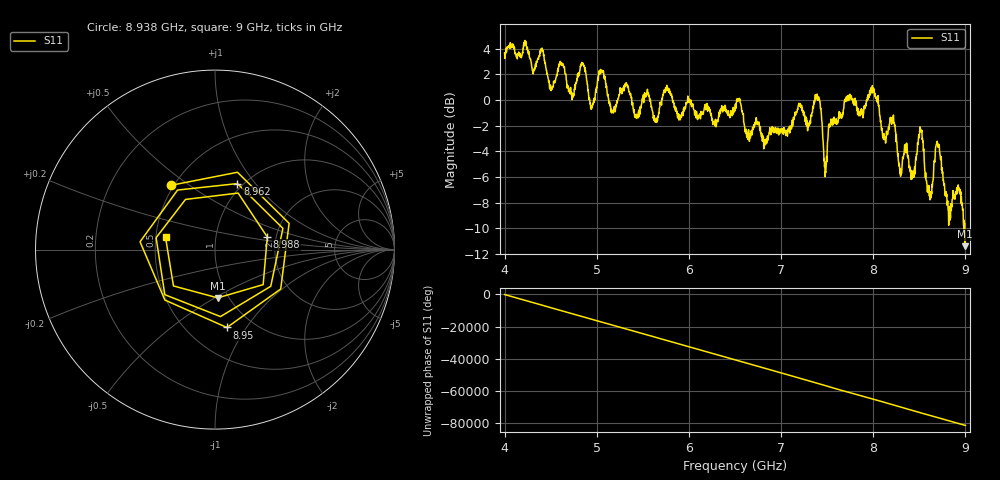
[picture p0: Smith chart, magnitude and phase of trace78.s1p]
! Created with skrf 1.8.0 (http://scikit-rf.org).
# Hz S RI R 50.0
!freq ReS11 ImS11
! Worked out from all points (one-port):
!   1601 points, 4 GHz to 9 GHz, reference 50 ohm
!   lowest |S11| = -11.4 dB at 8.994 GHz (marker M1), VSWR 1.74, Z = 44.5 - j25.8 ohm
!   |S11| at or under -10 dB: 8.986302 GHz to 8.989586 GHz (3.284 MHz wide, 0.0365 % of centre); 8.991693 GHz to end of sweep
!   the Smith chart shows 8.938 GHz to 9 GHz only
!   S11 on the Smith chart (normalised r, x): 8.938 GHz: 0.48, +0.43; 8.95 GHz: 0.76, -0.82; 8.962 GHz: 0.94, +0.82; 8.988 GHz: 1.79, +0.28; 9 GHz: 0.56, +0.08
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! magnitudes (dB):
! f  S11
! 4 GHz  3.7
! 4.625 GHz  2.8
! 4.728 GHz  0.4
! 4.853 GHz  2.8
! 4.944 GHz  -0.7
! 5.047 GHz  2.1
! 5.25 GHz  0.5
! 5.875 GHz  -1.3
! 6.5 GHz  -0.5
! 6.822 GHz  -3.1
! 7.125 GHz  -2.0
! 7.397 GHz  0.0
! 7.481 GHz  -5.6
! 7.75 GHz  0.2
! 7.997 GHz  0.8
! 8.112 GHz  -3.0
! 8.375 GHz  -4.3
! 8.431 GHz  -5.6
! 8.516 GHz  -2.3
! 8.609 GHz  -7.5
! 8.7 GHz  -3.5
! 8.822 GHz  -8.7
! 8.938 GHz  -7.2
! 8.95 GHz  -7.1
! 8.962 GHz  -8.2
! 8.988 GHz  -10.5
! 8.994 GHz  -11.4
! 9 GHz  -10.9
